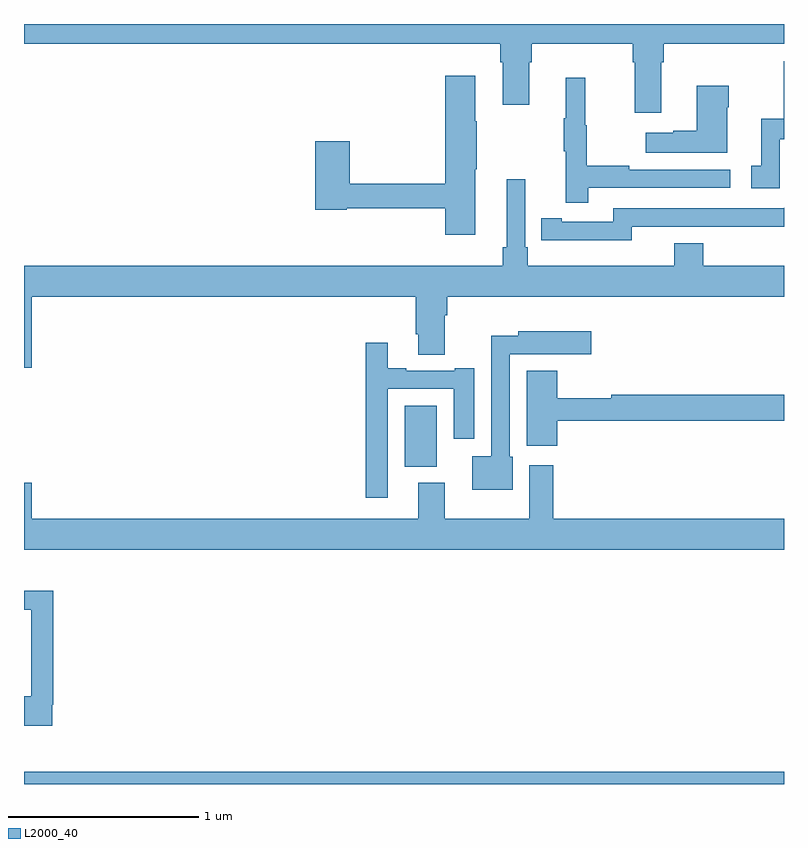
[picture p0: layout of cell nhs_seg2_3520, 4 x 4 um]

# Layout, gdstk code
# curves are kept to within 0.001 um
import gdstk
lib = gdstk.Library(unit=1e-6, precision=1e-09)
def R(c, l, rs):  # rectangles x0, y0, x1, y1
    for r in rs: c.add(gdstk.rectangle(r[:2], r[2:], *l))
def P(c, l, *ps):  # polygons
    for p in ps: c.add(gdstk.Polygon(p, *l))
L2000_40 = (2000, 40)

nhs_seg2_3520 = lib.new_cell('nhs_seg2_3520')
R(nhs_seg2_3520, L2000_40, [(297,583.8,301,583.864), (299.003,585.47,299.173,585.79)])
P(nhs_seg2_3520, L2000_40, [(297,587.696),(299.507,587.696),(299.507,587.6),(299.519,587.6),(299.519,587.376),(299.659,587.376),(299.659,587.6),(299.672,587.6),(299.672,587.696),(300.203,587.696),(300.203,587.6),(300.215,587.6),(300.215,587.334),(300.355,587.334),(300.355,587.6),(300.368,587.6),(300.368,587.696),(301,587.696),(301,587.8),(297,587.8)],
  [(300.978,587.193),(301,587.193),(301,587.604),(300.999,587.604),(300.999,587.302),(300.881,587.302),(300.881,587.055),(300.828,587.055),(300.828,586.935),(300.978,586.935)],
  [(299.374,587.035),(299.382,587.035),(299.382,587.288),(299.374,587.288),(299.374,587.527),(299.216,587.527),(299.216,586.958),(298.715,586.958),(298.715,587.182),(298.532,587.182),(298.532,586.822),(298.698,586.822),(298.698,586.83),(299.216,586.83),(299.216,586.692),(299.374,586.692)],
  [(299.969,586.938),(300.718,586.938),(300.718,587.034),(300.185,587.034),(300.185,587.054),(299.962,587.054),(299.962,587.268),(299.954,587.268),(299.954,587.518),(299.852,587.518),(299.852,587.305),(299.841,587.305),(299.841,587.131),(299.852,587.131),(299.852,586.86),(299.969,586.86)],
  [(300.7,587.363),(300.708,587.363),(300.708,587.476),(300.542,587.476),(300.542,587.237),(300.416,587.237),(300.416,587.227),(300.273,587.227),(300.273,587.123),(300.7,587.123)],
  [(297.04,586.364),(299.063,586.364),(299.063,586.168),(299.075,586.168),(299.075,586.06),(299.215,586.06),(299.215,586.268),(299.228,586.268),(299.228,586.364),(301,586.364),(301,586.528),(300.575,586.528),(300.575,586.645),(300.422,586.645),(300.422,586.528),(299.651,586.528),(299.651,586.624),(299.637,586.624),(299.637,586.984),(299.54,586.984),(299.54,586.624),(299.521,586.624),(299.521,586.528),(297,586.528),(297,585.99),(297.04,585.99)],
  [(300.198,586.734),(301,586.733),(301,586.834),(300.996,586.83),(300.102,586.83),(300.102,586.758),(299.83,586.758),(299.83,586.778),(299.722,586.778),(299.722,586.662),(300.198,586.661)],
  [(299.572,585.522),(299.556,585.522),(299.556,586.062),(299.763,586.062),(299.763,586.061),(299.986,586.061),(299.986,586.183),(299.601,586.183),(299.601,586.16),(299.46,586.16),(299.46,585.526),(299.36,585.526),(299.36,585.35),(299.572,585.35)],
  [(298.914,585.879),(299.261,585.879),(299.261,585.618),(299.371,585.618),(299.371,585.988),(299.267,585.988),(299.267,585.975),(299.011,585.975),(299.011,585.988),(298.915,585.988),(298.915,586.123),(298.798,586.123),(298.798,585.306),(298.914,585.306)],
  [(299.807,585.712),(301,585.712),(301,585.848),(300.09,585.848),(300.09,585.831),(299.807,585.831),(299.807,585.976),(299.645,585.976),(299.645,585.579),(299.807,585.579)],
  [(301,585.196),(299.786,585.196),(299.786,585.478),(299.66,585.478),(299.66,585.196),(299.215,585.196),(299.215,585.385),(299.075,585.385),(299.075,585.196),(297.04,585.196),(297.04,585.385),(297,585.385),(297,585.032),(301,585.032)],
  [(297.148,584.218),(297.155,584.218),(297.155,584.816),(297,584.816),(297,584.718),(297.039,584.718),(297.039,584.262),(297,584.262),(297,584.106),(297.148,584.106)])

lib.write_gds('nhs_seg2_3520.gds')
